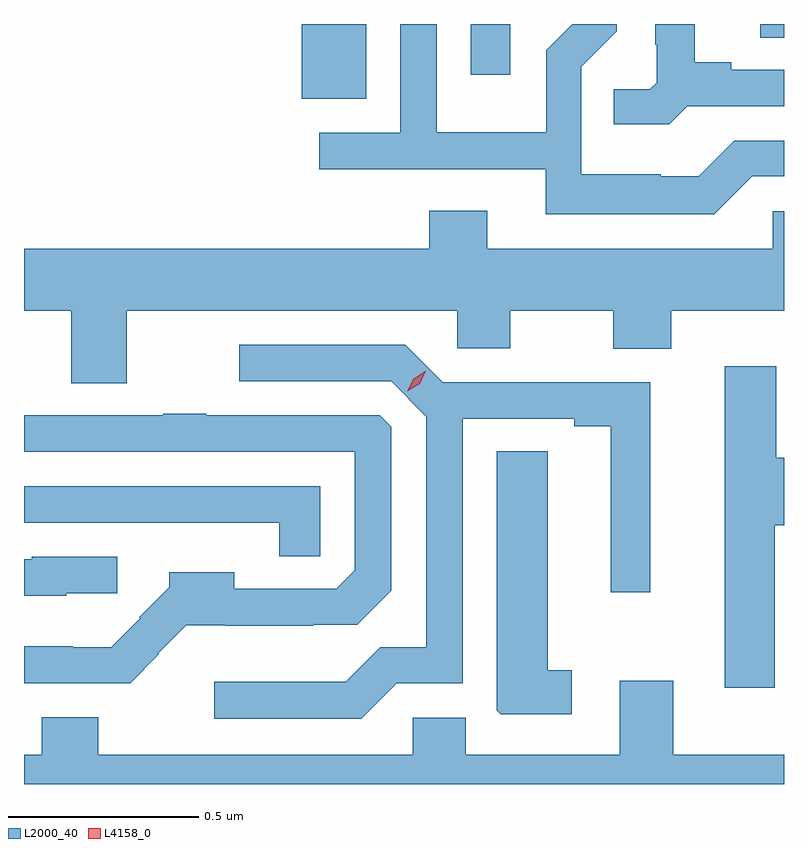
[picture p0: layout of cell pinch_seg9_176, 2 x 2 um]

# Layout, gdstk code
import gdstk
lib = gdstk.Library(unit=1e-6, precision=1e-09)
def R(c, l, rs):  # rectangles x0, y0, x1, y1
    for r in rs: c.add(gdstk.rectangle(r[:2], r[2:], *l))
def P(c, l, *ps):  # polygons
    for p in ps: c.add(gdstk.Polygon(p, *l))
L2000_40 = (2000, 40)
L4158_0 = (4158, 0)

pinch_seg9_176 = lib.new_cell('pinch_seg9_176')
R(pinch_seg9_176, L2000_40, [(664.157,1207.634,664.327,1207.831), (664.601,1207.698,664.705,1207.831), (665.363,1207.795,665.426,1207.831)])
P(pinch_seg9_176, L2000_40, [(665.343,1207.431),(665.426,1207.431),(665.426,1207.524),(665.295,1207.524),(665.202,1207.431),(665.102,1207.431),(665.102,1207.435),(664.893,1207.435),(664.893,1207.719),(664.986,1207.812),(664.986,1207.831),(664.869,1207.831),(664.8,1207.762),(664.8,1207.546),(664.512,1207.546),(664.512,1207.831),(664.416,1207.831),(664.416,1207.545),(664.203,1207.545),(664.203,1207.449),(664.799,1207.449),(664.799,1207.331),(665.243,1207.331)],
  [(665.172,1207.614),(665.426,1207.614),(665.426,1207.71),(665.287,1207.71),(665.287,1207.73),(665.191,1207.73),(665.191,1207.831),(665.087,1207.831),(665.087,1207.777),(665.091,1207.777),(665.091,1207.677),(665.073,1207.659),(664.978,1207.659),(664.978,1207.567),(665.124,1207.567)],
  [(663.697,1207.076),(664.566,1207.076),(664.566,1206.978),(664.705,1206.978),(664.705,1207.076),(664.976,1207.076),(664.976,1206.977),(665.129,1206.977),(665.129,1207.076),(665.426,1207.076),(665.426,1207.338),(665.397,1207.338),(665.397,1207.24),(664.645,1207.24),(664.645,1207.339),(664.493,1207.339),(664.493,1207.24),(663.426,1207.24),(663.426,1207.076),(663.55,1207.076),(663.55,1206.886),(663.697,1206.886)],
  [(664.407,1206.096),(664.581,1206.096),(664.581,1206.792),(664.874,1206.792),(664.874,1206.772),(664.97,1206.772),(664.97,1206.336),(665.074,1206.336),(665.074,1206.888),(664.528,1206.888),(664.429,1206.987),(663.993,1206.987),(663.993,1206.891),(664.392,1206.891),(664.485,1206.798),(664.485,1206.191),(664.364,1206.191),(664.273,1206.1),(663.927,1206.1),(663.927,1206.003),(664.314,1206.003)],
  [(665.402,1206.512),(665.426,1206.512),(665.426,1206.69),(665.405,1206.69),(665.405,1206.931),(665.27,1206.931),(665.27,1206.084),(665.402,1206.084)],
  [(663.781,1206.173),(663.779,1206.175),(663.853,1206.249),(663.955,1206.249),(663.955,1206.248),(664.187,1206.248),(664.187,1206.25),(664.303,1206.25),(664.392,1206.339),(664.392,1206.771),(664.362,1206.801),(663.905,1206.801),(663.905,1206.806),(663.793,1206.806),(663.793,1206.801),(663.426,1206.801),(663.426,1206.705),(664.296,1206.705),(664.296,1206.393),(664.248,1206.345),(663.979,1206.345),(663.979,1206.388),(663.808,1206.388),(663.808,1206.349),(663.729,1206.27),(663.732,1206.267),(663.656,1206.191),(663.554,1206.191),(663.554,1206.193),(663.426,1206.193),(663.426,1206.096),(663.705,1206.096)],
  [(664.867,1206.131),(664.804,1206.131),(664.804,1206.707),(664.67,1206.707),(664.67,1206.025),(664.68,1206.015),(664.867,1206.015)],
  [(664.206,1206.615),(663.426,1206.615),(663.426,1206.519),(663.843,1206.519),(663.843,1206.518),(664.098,1206.518),(664.098,1206.43),(664.206,1206.43)],
  [(663.537,1206.333),(663.672,1206.333),(663.672,1206.429),(663.447,1206.429),(663.447,1206.423),(663.426,1206.423),(663.426,1206.326),(663.537,1206.326)],
  [(665.426,1205.908),(665.134,1205.908),(665.134,1206.103),(664.994,1206.103),(664.994,1205.908),(664.588,1205.908),(664.588,1206.006),(664.449,1206.006),(664.449,1205.908),(663.621,1205.908),(663.621,1206.007),(663.473,1206.007),(663.473,1205.908),(663.426,1205.908),(663.426,1205.831),(665.426,1205.831)])
P(pinch_seg9_176, L4158_0, [(664.435,1206.864),(664.435,1206.864),(664.452,1206.898),(664.483,1206.918),(664.483,1206.918),(664.483,1206.918),(664.467,1206.884),(664.435,1206.864)])

lib.write_gds('pinch_seg9_176.gds')
